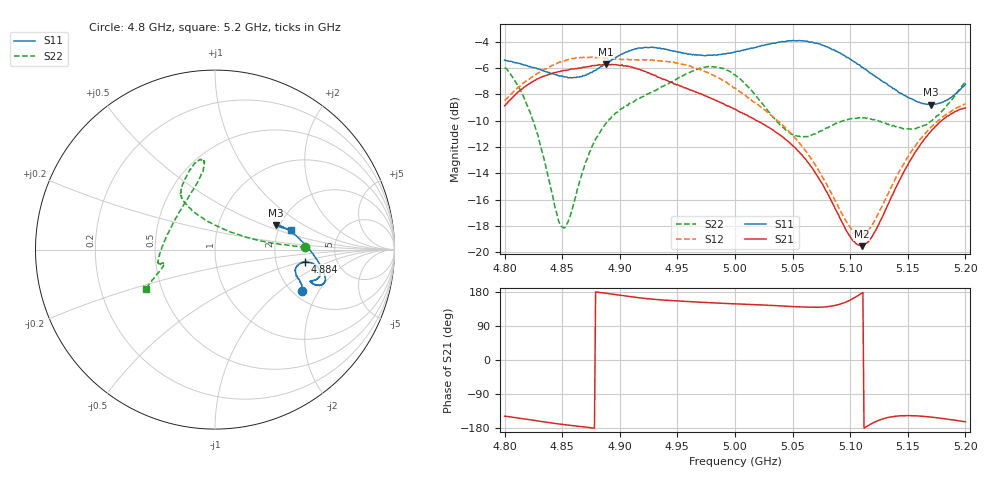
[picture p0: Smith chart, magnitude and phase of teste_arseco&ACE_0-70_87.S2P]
! Network Analyzer HP8722D
! Hewlett-Packard
! Data name: Linha & Wilkinson
! Saver's name: Rodrigo Anjos
! Comments: Teste da utilização de aquisição
! continua pelo VNA HP8722D
! Time and date: 8/5/2025 13:29
!  Frequency  S11  S21  S12  S22
# HZ  S  MA R 50
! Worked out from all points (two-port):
!   401 points, 4.8 GHz to 5.2 GHz, reference 50 ohm
!   highest |S21| = -5.70 dB at 4.888 GHz (marker M1); lowest = -19.5 dB at 5.11 GHz (marker M2)
!   |S21| within 3 dB of the highest: 4.802 GHz to 4.99 GHz (188.1 MHz wide, 3.84 % of centre)
!   lowest |S11| = -8.8 dB at 5.17 GHz (marker M3), VSWR 2.15, Z = 95 + j29.8 ohm
!   |S11| at or under -10 dB: nowhere
!   |S22| runs from -18.1 to -5.9 dB; largest |S21 - S12| = 1.1
!   S11 on the Smith chart (normalised r, x): 4.8 GHz: 2.23, -1.45; 4.884 GHz: 2.95, -0.54; 5.2 GHz: 2.33, +0.64
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4.8e9  0.5376 -25.6  0.3604 -148.2  0.3783 11.2  0.5036 1.6
4.813e9  0.5218 -22.1  0.4105 -153.5  0.4269 9.3  0.419 3.3
4.824e9  0.5039 -20.4  0.4443 -158.6  0.465 7.6  0.3217 6.4
4.849e9  0.4678 -16.2  0.4886 -169.5  0.5294 3.8  0.1258 56.5
4.855e9  0.4601 -14.7  0.493 -171.9  0.5403 2.8  0.1303 83.9
4.867e9  0.4651 -11.1  0.5028 -176.1  0.5492 1.1  0.1976 113.1
4.884e9  0.5081 -7.7  0.515 177.6  0.5466 -0.2  0.2923 122.3
4.888e9  0.5209 -7.9  0.5189 176.0  0.546 -0.1  0.3094 122.7
4.913e9  0.5933 -11.1  0.5012 165.6  0.5396 0.1  0.3761 120.2
4.934e9  0.5975 -15.6  0.462 159.0  0.5347 -0.8  0.419 114.1
4.975e9  0.5596 -18.4  0.392 151.8  0.4846 -4.6  0.5068 100.1
5e9  0.577 -19.0  0.3501 148.2  0.4215 -4.6  0.4726 97.4
5.018e9  0.601 -19.0  0.3177 146.0  0.3694 -2.0  0.3948 103.9
5.046e9  0.6369 -17.0  0.2641 141.6  0.291 4.0  0.2883 133.9
5.067e9  0.6298 -13.3  0.2092 139.3  0.2241 9.7  0.28 164.7
5.098e9  0.5505 -2.9  0.1183 155.3  0.1277 36.2  0.3197 -170.3
5.11e9  0.5055 2.5  0.1056 176.1  0.1169 59.7  0.3261 -166.8
5.12e9  0.4719 7.6  0.117 -165.7  0.1292 78.9  0.3192 -165.5
5.134e9  0.4286 14.1  0.1559 -150.8  0.171 94.8  0.3048 -165.4
5.155e9  0.3804 21.1  0.2343 -147.1  0.2484 102.3  0.296 -163.9
5.17e9  0.3645 21.9  0.2882 -150.6  0.2988 103.1  0.3151 -160.4
5.2e9  0.435 14.7  0.3537 -163.0  0.3668 103.6  0.4456 -150.2
